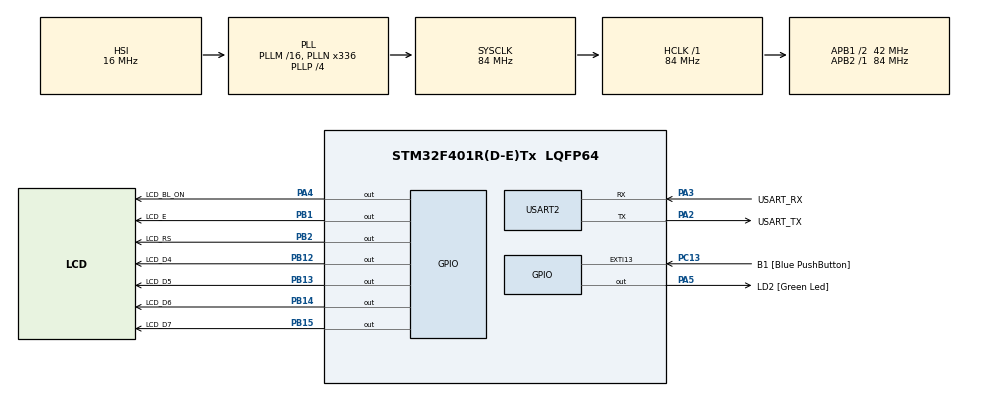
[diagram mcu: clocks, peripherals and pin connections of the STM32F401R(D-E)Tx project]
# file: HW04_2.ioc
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Mcu.Family=STM32F4
Mcu.Name=STM32F401R(D-E)Tx
Mcu.Package=LQFP64
NVIC.PriorityGroup=NVIC_PRIORITYGROUP_4
NVIC.TIM2_IRQn=true\:0\:0\:false\:false\:true\:true\:true\:true
PA13.GPIO_Label=TMS
PA13.Mode=Trace_Asynchronous_SW
PA13.Signal=SYS_JTMS-SWDIO
PA14.GPIO_Label=TCK
PA14.Mode=Trace_Asynchronous_SW
PA14.Signal=SYS_JTCK-SWCLK
PA2.GPIO_Label=USART_TX
PA2.GPIO_Mode=GPIO_MODE_AF_PP
PA2.GPIO_PuPd=GPIO_NOPULL
PA2.GPIO_Speed=GPIO_SPEED_FREQ_LOW
PA2.Mode=Asynchronous
PA2.Signal=USART2_TX
PA3.GPIO_Label=USART_RX
PA3.GPIO_Mode=GPIO_MODE_AF_PP
PA3.GPIO_PuPd=GPIO_NOPULL
PA3.GPIO_Speed=GPIO_SPEED_FREQ_LOW
PA3.Mode=Asynchronous
PA3.Signal=USART2_RX
PA4.GPIO_Label=LCD_BL_ON
PA4.Signal=GPIO_Output
PA5.GPIO_Label=LD2 [Green Led]
PA5.GPIO_Mode=GPIO_MODE_OUTPUT_PP
PA5.GPIO_PuPd=GPIO_NOPULL
PA5.GPIO_Speed=GPIO_SPEED_FREQ_LOW
PA5.Signal=GPIO_Output
PB1.GPIO_Label=LCD_E
PB1.Signal=GPIO_Output
PB12.GPIO_Label=LCD_D4
PB12.Signal=GPIO_Output
PB13.GPIO_Label=LCD_D5
PB13.Signal=GPIO_Output
PB14.GPIO_Label=LCD_D6
PB14.Signal=GPIO_Output
PB15.GPIO_Label=LCD_D7
PB15.Signal=GPIO_Output
PB2.GPIO_Label=LCD_RS
PB2.Signal=GPIO_Output
PB3.GPIO_Label=SWO
PB3.Mode=Trace_Asynchronous_SW
PB3.Signal=SYS_JTDO-SWO
PC13-ANTI_TAMP.GPIO_Label=B1 [Blue PushButton]
PC13-ANTI_TAMP.GPIO_ModeDefaultEXTI=GPIO_MODE_IT_FALLING
PC13-ANTI_TAMP.GPIO_PuPd=GPIO_NOPULL
PC13-ANTI_TAMP.Signal=GPXTI13
PC14-OSC32_IN.Mode=LSE-External-Oscillator
PC14-OSC32_IN.Signal=RCC_OSC32_IN
PC15-OSC32_OUT.Mode=LSE-External-Oscillator
PC15-OSC32_OUT.Signal=RCC_OSC32_OUT
PH0\ -\ OSC_IN.Mode=HSE-External-Clock-Source
PH0\ -\ OSC_IN.Signal=RCC_OSC_IN
PH1\ -\ OSC_OUT.Mode=HSE-External-Clock-Source
PH1\ -\ OSC_OUT.Signal=RCC_OSC_OUT
ProjectManager.HeapSize=0x200
ProjectManager.StackSize=0x400
ProjectManager.TargetToolchain=STM32CubeIDE
RCC.48MHZClocksFreq_Value=48000000
RCC.AHBFreq_Value=84000000
RCC.APB1CLKDivider=RCC_HCLK_DIV2
RCC.APB1Freq_Value=42000000
RCC.APB1TimFreq_Value=84000000
RCC.APB2Freq_Value=84000000
RCC.APB2TimFreq_Value=84000000
RCC.CortexFreq_Value=84000000
RCC.HCLKFreq_Value=84000000
RCC.HSE_VALUE=8000000
RCC.HSI_VALUE=16000000
RCC.PLLN=336
RCC.PLLP=RCC_PLLP_DIV4
RCC.PLLQ=7
RCC.SYSCLKFreq_VALUE=84000000
RCC.SYSCLKSource=RCC_SYSCLKSOURCE_PLLCLK
RCC.VCOOutputFreq_Value=336000000
TIM2.Period=839999
TIM2.Prescaler=99
USART2.VirtualMode=VM_ASYNC
VP_TIM2_VS_ClockSourceINT.Mode=Internal
board=NUCLEO-F401RE

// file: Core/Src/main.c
/* USER CODE BEGIN Header */
/**
  ******************************************************************************
  * @file           : main.c
  * @brief          : Main program body
  ******************************************************************************
  * @attention
  *
  * Copyright (c) 2026 STMicroelectronics.
  * All rights reserved.
  *
  * This software is licensed under terms that can be found in the LICENSE file
  * in the root directory of this software component.
  * If no LICENSE file comes with this software, it is provided AS-IS.
  *
  ******************************************************************************
  */
/* USER CODE END Header */
#include "main.h"

/* USER CODE BEGIN Includes */
#include "PMDB16_LCD.h"
#include "string.h"
/* USER CODE END Includes */

TIM_HandleTypeDef htim2;

UART_HandleTypeDef huart2;

/* USER CODE BEGIN PV */
char* nomi[] = {"Andrea", "Fabiola", "Gaia", "Luca", "Martin"};
int serie=5;
int i=0;
int j=1;
int row=0;
/* USER CODE END PV */

void SystemClock_Config(void);
static void MX_GPIO_Init(void);
static void MX_USART2_UART_Init(void);
static void MX_TIM2_Init(void);

/* USER CODE BEGIN 0 */
void HAL_TIM_PeriodElapsedCallback(TIM_HandleTypeDef *htim)
{
    if (htim->Instance == TIM2) {
        lcd_clear();
        lcd_println(nomi[i], 0);
        lcd_println(nomi[j], 1);
        i = j;
        j = (j + 1) % serie;
    }
}

/* USER CODE END 0 */

int main(void)
{

  /* MCU Configuration--------------------------------------------------------*/

  /* Reset of all peripherals, Initializes the Flash interface and the Systick. */
  HAL_Init();

  /* Configure the system clock */
  SystemClock_Config();

  /* Initialize all configured peripherals */
  MX_GPIO_Init();
  MX_USART2_UART_Init();
  MX_TIM2_Init();
  /* USER CODE BEGIN 2 */
  lcd_initialize();

  lcd_backlight_ON();

  lcd_println(nomi[0], 0);

  HAL_TIM_Base_Start_IT(&htim2);

  /* USER CODE END 2 */

  /* Infinite loop */
  while (1)
  {

  }
}

void SystemClock_Config(void)
{
  RCC_OscInitTypeDef RCC_OscInitStruct = {0};
  RCC_ClkInitTypeDef RCC_ClkInitStruct = {0};

  /** Configure the main internal regulator output voltage
  */
  __HAL_RCC_PWR_CLK_ENABLE();
  __HAL_PWR_VOLTAGESCALING_CONFIG(PWR_REGULATOR_VOLTAGE_SCALE2);

  /** Initializes the RCC Oscillators according to the specified parameters
  * in the RCC_OscInitTypeDef structure.
  */
  RCC_OscInitStruct.OscillatorType = RCC_OSCILLATORTYPE_HSI;
  RCC_OscInitStruct.HSIState = RCC_HSI_ON;
  RCC_OscInitStruct.HSICalibrationValue = RCC_HSICALIBRATION_DEFAULT;
  RCC_OscInitStruct.PLL.PLLState = RCC_PLL_ON;
  RCC_OscInitStruct.PLL.PLLSource = RCC_PLLSOURCE_HSI;
  RCC_OscInitStruct.PLL.PLLM = 16;
  RCC_OscInitStruct.PLL.PLLN = 336;
  RCC_OscInitStruct.PLL.PLLP = RCC_PLLP_DIV4;
  RCC_OscInitStruct.PLL.PLLQ = 7;
  if (HAL_RCC_OscConfig(&RCC_OscInitStruct) != HAL_OK)
  {
    Error_Handler();
  }

  /** Initializes the CPU, AHB and APB buses clocks
  */
  RCC_ClkInitStruct.ClockType = RCC_CLOCKTYPE_HCLK|RCC_CLOCKTYPE_SYSCLK
                              |RCC_CLOCKTYPE_PCLK1|RCC_CLOCKTYPE_PCLK2;
  RCC_ClkInitStruct.SYSCLKSource = RCC_SYSCLKSOURCE_PLLCLK;
  RCC_ClkInitStruct.AHBCLKDivider = RCC_SYSCLK_DIV1;
  RCC_ClkInitStruct.APB1CLKDivider = RCC_HCLK_DIV2;
  RCC_ClkInitStruct.APB2CLKDivider = RCC_HCLK_DIV1;

  if (HAL_RCC_ClockConfig(&RCC_ClkInitStruct, FLASH_LATENCY_2) != HAL_OK)
  {
    Error_Handler();
  }
}

static void MX_TIM2_Init(void)
{

  TIM_ClockConfigTypeDef sClockSourceConfig = {0};
  TIM_MasterConfigTypeDef sMasterConfig = {0};

  htim2.Instance = TIM2;
  htim2.Init.Prescaler = 99;
  htim2.Init.CounterMode = TIM_COUNTERMODE_UP;
  htim2.Init.Period = 839999;
  htim2.Init.ClockDivision = TIM_CLOCKDIVISION_DIV1;
  htim2.Init.AutoReloadPreload = TIM_AUTORELOAD_PRELOAD_DISABLE;
  if (HAL_TIM_Base_Init(&htim2) != HAL_OK)
  {
    Error_Handler();
  }
  sClockSourceConfig.ClockSource = TIM_CLOCKSOURCE_INTERNAL;
  if (HAL_TIM_ConfigClockSource(&htim2, &sClockSourceConfig) != HAL_OK)
  {
    Error_Handler();
  }
  sMasterConfig.MasterOutputTrigger = TIM_TRGO_RESET;
  sMasterConfig.MasterSlaveMode = TIM_MASTERSLAVEMODE_DISABLE;
  if (HAL_TIMEx_MasterConfigSynchronization(&htim2, &sMasterConfig) != HAL_OK)
  {
    Error_Handler();
  }

}

static void MX_USART2_UART_Init(void)
{

  huart2.Instance = USART2;
  huart2.Init.BaudRate = 115200;
  huart2.Init.WordLength = UART_WORDLENGTH_8B;
  huart2.Init.StopBits = UART_STOPBITS_1;
  huart2.Init.Parity = UART_PARITY_NONE;
  huart2.Init.Mode = UART_MODE_TX_RX;
  huart2.Init.HwFlowCtl = UART_HWCONTROL_NONE;
  huart2.Init.OverSampling = UART_OVERSAMPLING_16;
  if (HAL_UART_Init(&huart2) != HAL_OK)
  {
    Error_Handler();
  }

}

static void MX_GPIO_Init(void)
{
  GPIO_InitTypeDef GPIO_InitStruct = {0};

  /* GPIO Ports Clock Enable */
  __HAL_RCC_GPIOC_CLK_ENABLE();
  __HAL_RCC_GPIOH_CLK_ENABLE();
  __HAL_RCC_GPIOA_CLK_ENABLE();
  __HAL_RCC_GPIOB_CLK_ENABLE();

  /*Configure GPIO pin Output Level */
  HAL_GPIO_WritePin(GPIOA, LCD_BL_ON_Pin|LD2_Pin, GPIO_PIN_RESET);

  /*Configure GPIO pin Output Level */
  HAL_GPIO_WritePin(GPIOB, LCD_E_Pin|LCD_RS_Pin|LCD_D4_Pin|LCD_D5_Pin
                          |LCD_D6_Pin|LCD_D7_Pin, GPIO_PIN_RESET);

  /*Configure GPIO pin : B1_Pin */
  GPIO_InitStruct.Pin = B1_Pin;
  GPIO_InitStruct.Mode = GPIO_MODE_IT_FALLING;
  GPIO_InitStruct.Pull = GPIO_NOPULL;
  HAL_GPIO_Init(B1_GPIO_Port, &GPIO_InitStruct);

  /*Configure GPIO pins : LCD_BL_ON_Pin LD2_Pin */
  GPIO_InitStruct.Pin = LCD_BL_ON_Pin|LD2_Pin;
  GPIO_InitStruct.Mode = GPIO_MODE_OUTPUT_PP;
  GPIO_InitStruct.Pull = GPIO_NOPULL;
  GPIO_InitStruct.Speed = GPIO_SPEED_FREQ_LOW;
  HAL_GPIO_Init(GPIOA, &GPIO_InitStruct);

  /*Configure GPIO pins : LCD_E_Pin LCD_RS_Pin LCD_D4_Pin LCD_D5_Pin
                           LCD_D6_Pin LCD_D7_Pin */
  GPIO_InitStruct.Pin = LCD_E_Pin|LCD_RS_Pin|LCD_D4_Pin|LCD_D5_Pin
                          |LCD_D6_Pin|LCD_D7_Pin;
  GPIO_InitStruct.Mode = GPIO_MODE_OUTPUT_PP;
  GPIO_InitStruct.Pull = GPIO_NOPULL;
  GPIO_InitStruct.Speed = GPIO_SPEED_FREQ_LOW;
  HAL_GPIO_Init(GPIOB, &GPIO_InitStruct);

}

void Error_Handler(void)
{
  __disable_irq();
  while (1)
  {
  }
}
